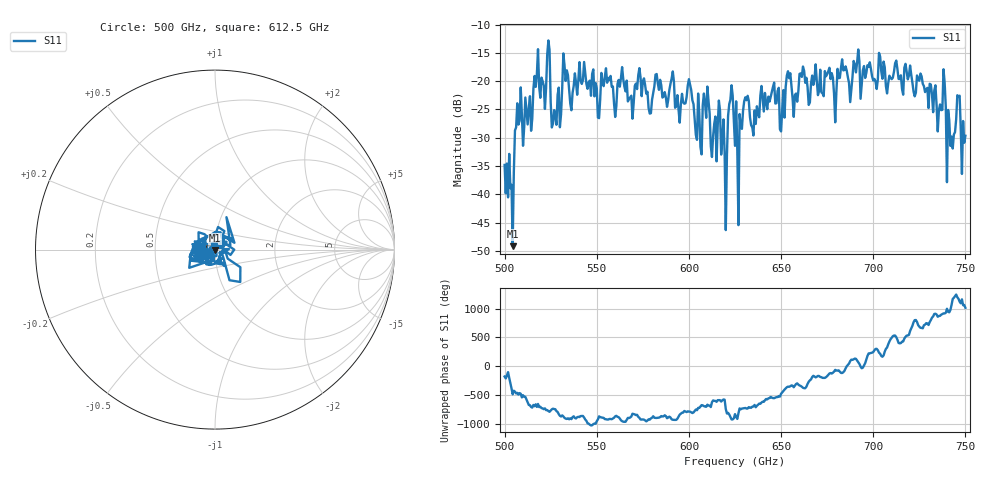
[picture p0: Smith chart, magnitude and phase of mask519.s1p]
!Created with skrf (http://scikit-rf.org).
# GHz S MA R 50.0
!freq magS11 angS11
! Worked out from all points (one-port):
!   401 points, 500 GHz to 750 GHz, reference 50 ohm
!   lowest |S11| = -49.1 dB at 504.4 GHz (marker M1), VSWR 1.01, Z = 49.8 - j0.292 ohm
!   |S11| at or under -10 dB: start of sweep to end of sweep
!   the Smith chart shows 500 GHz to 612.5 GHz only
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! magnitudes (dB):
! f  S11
! 500 GHz  -34.8
! 504.4 GHz  -49.1
! 507.5 GHz  -27.7
! 513.8 GHz  -22.7
! 516.9 GHz  -21.0
! 523.8 GHz  -12.8
! 526.9 GHz  -25.1
! 531.2 GHz  -21.2
! 562.5 GHz  -21.0
! 579.4 GHz  -25.7
! 590.6 GHz  -19.5
! 593.8 GHz  -22.5
! 600.6 GHz  -20.6
! 605.6 GHz  -25.8
! 609.4 GHz  -26.5
! 612.5 GHz  -33.4
! 617.5 GHz  -33.0
! 618.8 GHz  -26.7
! 622.5 GHz  -23.3
! 625 GHz  -31.4
! 627.5 GHz  -25.8
! 631.2 GHz  -23.4
! 635 GHz  -29.6
! 656.2 GHz  -23.0
! 687.5 GHz  -23.7
! 690.6 GHz  -18.5
! 718.8 GHz  -19.7
! 750 GHz  -29.6
